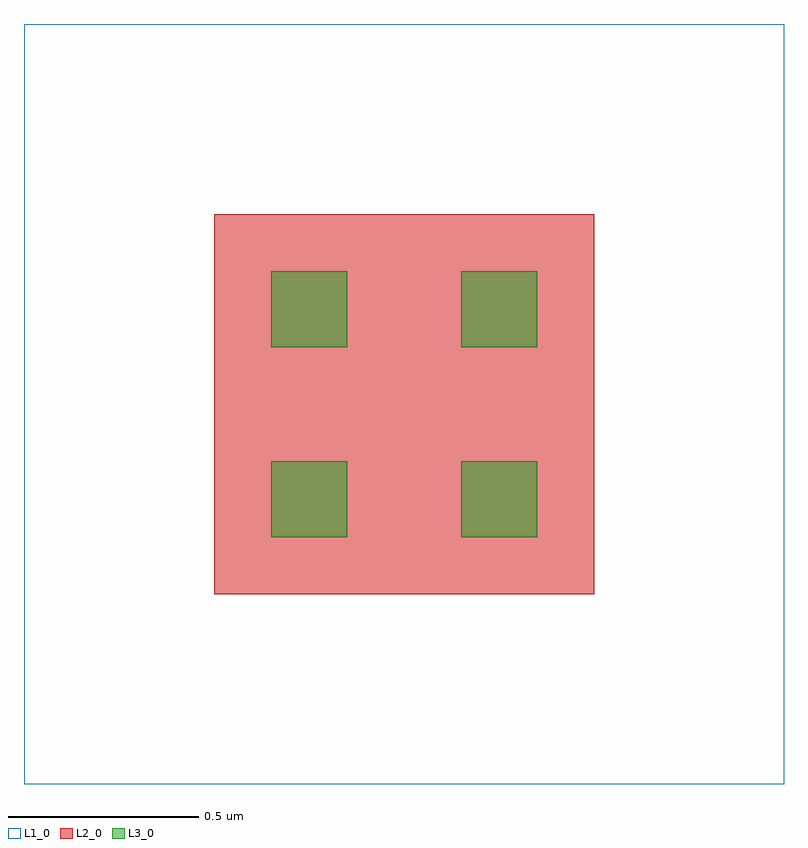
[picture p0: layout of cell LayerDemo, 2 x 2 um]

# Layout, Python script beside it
import pya

def demonstrate_layer_operations():
    """
    Demonstrates various layer operations including:
    - Layer creation
    - Layer manipulation
    - Layer properties
    """
    # Create a new layout
    layout = pya.Layout()
    layout.dbu = 0.001
    
    # Create a main cell
    main_cell = layout.create_cell("LayerDemo")
    
    # Create multiple layers with different purposes
    metal1 = layout.layer(1, 0, "Metal1")  # Metal 1 layer
    metal2 = layout.layer(2, 0, "Metal2")  # Metal 2 layer
    via = layout.layer(3, 0, "Via")        # Via layer
    
    # Create shapes on Metal1
    main_cell.shapes(metal1).insert(pya.Box(0, 0, 2000, 2000))
    
    # Create shapes on Metal2
    main_cell.shapes(metal2).insert(pya.Box(500, 500, 1500, 1500))
    
    # Create via connections
    via_size = 200
    for x in range(750, 1251, 500):
        for y in range(750, 1251, 500):
            main_cell.shapes(via).insert(
                pya.Box(x - via_size//2, y - via_size//2,
                       x + via_size//2, y + via_size//2)
            )
    
    # Demonstrate layer info retrieval
    for li in layout.layer_indices():
        info = layout.get_info(li)
        print(f"Layer {info.layer}/{info.datatype}: {info.name}")
    
    # Save the layout
    layout.write("layer_handling.gds")

def main():
    print("Demonstrating layer operations...")
    demonstrate_layer_operations()
    print("Layout saved as 'layer_handling.gds'")

if __name__ == "__main__":
    main()
